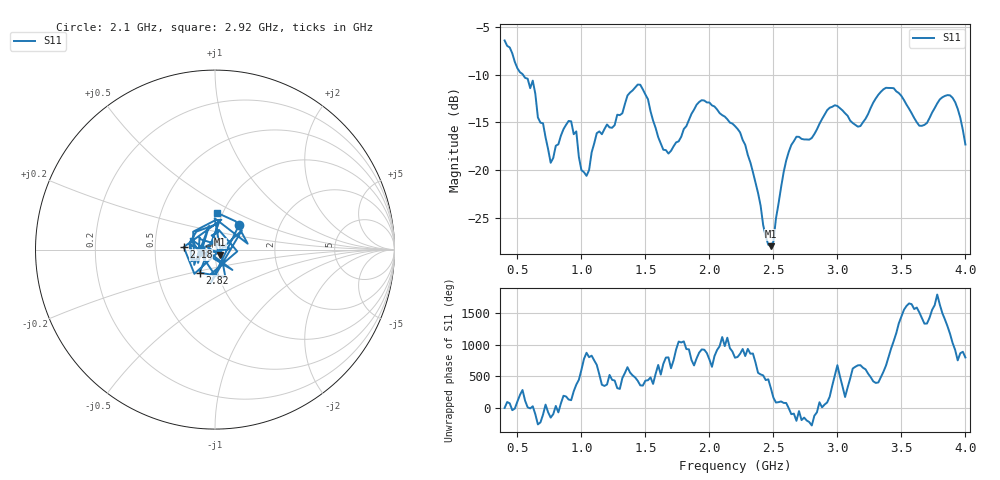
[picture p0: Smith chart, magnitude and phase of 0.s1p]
!Created with skrf (http://scikit-rf.org).
# Hz S RI R 50.0
!freq ReS11 ImS11
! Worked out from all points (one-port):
!   181 points, 400 MHz to 4 GHz, reference 50 ohm
!   lowest |S11| = -28.0 dB at 2.48 GHz (marker M1), VSWR 1.08, Z = 52.8 - j2.99 ohm
!   |S11| at or under -10 dB: 543 MHz to end of sweep
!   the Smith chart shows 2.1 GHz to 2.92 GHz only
!   S11 on the Smith chart (normalised r, x): 2.1 GHz: 1.25, +0.36; 2.18 GHz: 0.70, +0.02; 2.82 GHz: 0.82, -0.22; 2.92 GHz: 0.94, +0.40
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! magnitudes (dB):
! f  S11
! 400 MHz  -6.4
! 620 MHz  -10.6
! 760 MHz  -19.2
! 860 MHz  -15.7
! 960 MHz  -16.0
! 1 GHz  -20.0
! 1.04 GHz  -20.6
! 1.12 GHz  -16.1
! 1.3 GHz  -14.2
! 1.46 GHz  -11.1
! 1.64 GHz  -17.9
! 1.76 GHz  -17.0
! 1.94 GHz  -12.7
! 2.1 GHz  -14.2
! 2.18 GHz  -15.1
! 2.2 GHz  -15.4
! 2.28 GHz  -17.4
! 2.48 GHz  -28.0
! 2.6 GHz  -19.0
! 2.66 GHz  -17.0
! 2.82 GHz  -16.2
! 2.92 GHz  -13.7
! 3.1 GHz  -14.8
! 3.38 GHz  -11.4
! 3.56 GHz  -13.6
! 3.66 GHz  -15.4
! 3.88 GHz  -12.2
! 4 GHz  -17.3
